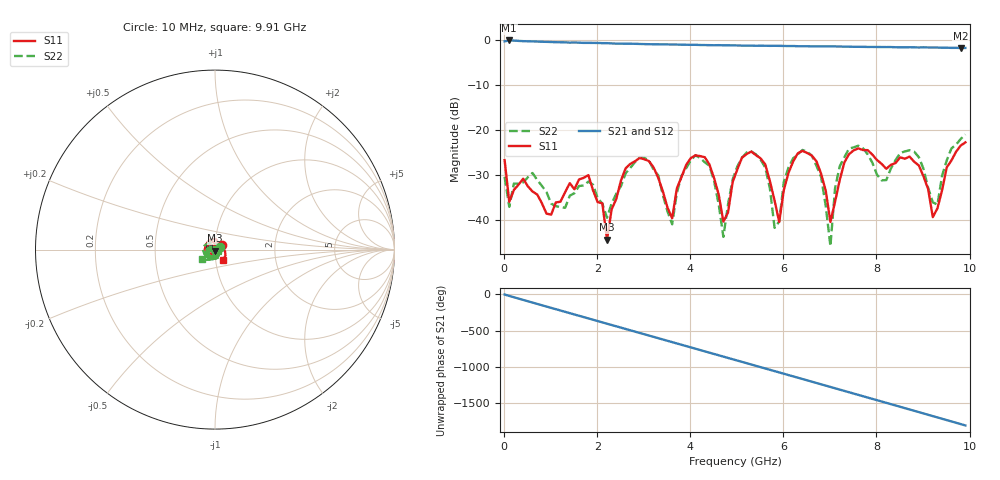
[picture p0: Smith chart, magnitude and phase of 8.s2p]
!Keysight Technologies,N5245A,MY49151104,A.10.60.03
!Date: Tuesday, August 13, 2019 10:40:25
!Correction: S11(Full 2 Port(1,2))
!S21(Full 2 Port(1,2))
!S12(Full 2 Port(1,2))
!S22(Full 2 Port(1,2))
!S2P File: Measurements: S11, S21, S12, S22:
# Hz S  dB  R 50
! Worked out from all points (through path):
!   100 points, 10 MHz to 9.91 GHz, reference 50 ohm
!   highest |S21| = -0.05 dB at 110 MHz (marker M1); lowest = -1.7 dB at 9.81 GHz (marker M2)
!   group delay of S21, straight-line fit = 505 ps
!   lowest |S11| = -44.4 dB at 2.21 GHz (marker M3), VSWR 1.01, Z = 50.1 - j0.587 ohm
!   |S11| at or under -10 dB: start of sweep to end of sweep
!   |S22| runs from -45.8 to -21.0 dB; largest |S21 - S12| = 0.018
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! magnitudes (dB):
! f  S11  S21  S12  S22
! 10 MHz  -26.7  -0.3  -0.1  -30.4
! 110 MHz  -36.0  -0.1  -0.1  -37.1
! 1.71 GHz  -30.6  -0.6  -0.6  -32.4
! 2.21 GHz  -44.4  -0.7  -0.7  -39.5
! 2.61 GHz  -28.5  -0.8  -0.8  -29.6
! 3.31 GHz  -30.6  -0.9  -0.9  -30.1
! 3.61 GHz  -39.6  -1.0  -1.0  -41.0
! 4.01 GHz  -26.2  -1.0  -1.0  -26.7
! 4.41 GHz  -27.7  -1.1  -1.1  -28.0
! 4.71 GHz  -40.4  -1.1  -1.1  -43.8
! 5.01 GHz  -28.7  -1.2  -1.1  -28.1
! 5.51 GHz  -26.3  -1.2  -1.2  -26.6
! 5.81 GHz  -35.7  -1.2  -1.3  -41.8
! 6.61 GHz  -25.7  -1.4  -1.3  -25.7
! 7.01 GHz  -40.5  -1.4  -1.4  -45.8
! 7.11 GHz  -36.0  -1.4  -1.4  -32.9
! 7.41 GHz  -25.4  -1.4  -1.4  -24.1
! 8.31 GHz  -27.7  -1.5  -1.5  -28.6
! 8.81 GHz  -27.0  -1.6  -1.6  -24.8
! 9.21 GHz  -39.4  -1.6  -1.6  -36.1
! 9.81 GHz  -23.4  -1.7  -1.7  -22.0
! 9.91 GHz  -22.7  -1.7  -1.7  -21.0
